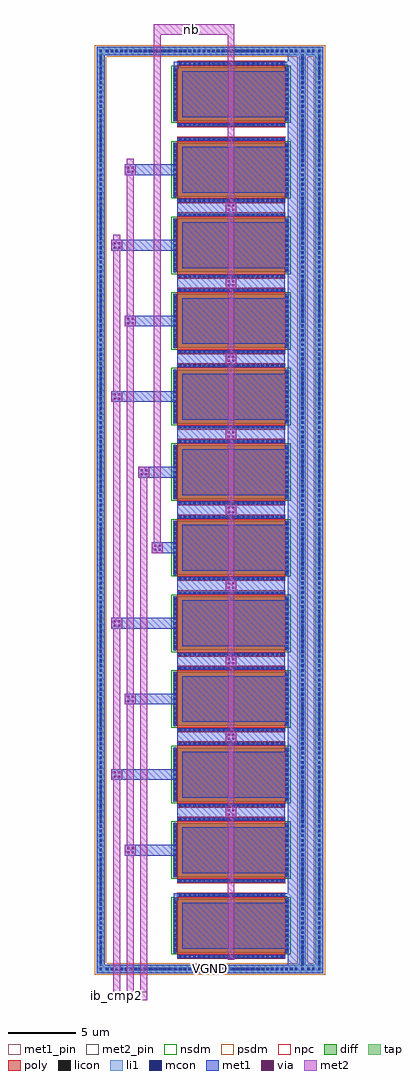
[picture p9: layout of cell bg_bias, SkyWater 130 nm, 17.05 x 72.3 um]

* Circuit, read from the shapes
.subckt bg_bias VGND ib_cmp1 ib_cmp2 ibias nb
XM1 VGND VGND VGND VGND sky130_fd_pr__nfet_01v8 w=4 l=8 m=2
XM2 VGND nb ib_cmp1 VGND sky130_fd_pr__nfet_01v8 w=4 l=8 m=4
XM3 VGND nb ib_cmp2 VGND sky130_fd_pr__nfet_01v8 w=4 l=8 m=4
XM4 VGND nb nb VGND sky130_fd_pr__nfet_01v8 w=4 l=8
XM5 VGND nb ibias VGND sky130_fd_pr__nfet_01v8 w=4 l=8
.ends

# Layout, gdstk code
import gdstk
lib = gdstk.Library(unit=1e-6, precision=1e-09)
def R(c, l, rs):  # rectangles x0, y0, x1, y1
    for r in rs: c.add(gdstk.rectangle(r[:2], r[2:], *l))
def A(c, l, x, y, w, h, nx, ny, dx, dy):  # array of equal rectangles
    R(c, l, [(x+i*dx, y+j*dy, x+i*dx+w, y+j*dy+h) for i in range(nx) for j in range(ny)])
diff = (65, 20)
tap = (65, 44)
poly = (66, 20)
licon = (66, 44)
li1 = (67, 20)
mcon = (67, 44)
met1_pin = (68, 16)
met1 = (68, 20)
via = (68, 44)
met2_pin = (69, 16)
met2 = (69, 20)
nsdm = (93, 44)
psdm = (94, 20)
npc = (95, 20)

sky130_fd_pr__nfet_01v8_ = lib.new_cell('sky130_fd_pr__nfet_01v8_SYZFM9')
R(sky130_fd_pr__nfet_01v8_, diff, [(-4.29,-2,4.29,2)])
R(sky130_fd_pr__nfet_01v8_, poly, [(-4,-2.44,4,2.44)])
A(sky130_fd_pr__nfet_01v8_, licon, -3.825, -2.36, 0.17, 0.17, 23, 2, 0.34, 4.55)
A(sky130_fd_pr__nfet_01v8_, licon, -4.23, -1.785, 0.17, 0.17, 1, 11, 0, 0.34)
A(sky130_fd_pr__nfet_01v8_, licon, 4.06, -1.785, 0.17, 0.17, 1, 11, 0, 0.34)
R(sky130_fd_pr__nfet_01v8_, li1, [(-4,-2.36,4,-2.19), (-4.23,-2.02,-4.06,2.02), (4.06,-2.02,4.23,2.02), (-4,2.19,4,2.36)])
A(sky130_fd_pr__nfet_01v8_, mcon, -3.865, -2.36, 0.17, 0.17, 22, 2, 0.36, 4.55)
A(sky130_fd_pr__nfet_01v8_, mcon, -4.23, -1.885, 0.17, 0.17, 1, 11, 0, 0.36)
A(sky130_fd_pr__nfet_01v8_, mcon, 4.06, -1.885, 0.17, 0.17, 1, 11, 0, 0.36)
R(sky130_fd_pr__nfet_01v8_, met1, [(-3.98,-2.39,3.98,-2.16), (-4.26,-2,-4.03,2), (4.03,-2,4.26,2), (-3.98,2.16,3.98,2.39)])
R(sky130_fd_pr__nfet_01v8_, nsdm, [(-4.415,-2.125,4.415,2.125)])
R(sky130_fd_pr__nfet_01v8_, npc, [(-3.925,-2.46,3.925,-2.09), (-3.925,2.09,3.925,2.46)])
sky130_fd_pr__nfet_01v8_.add(gdstk.Label('G', (0,2.275), layer=67, texttype=5))
sky130_fd_pr__nfet_01v8_.add(gdstk.Label('S', (4.145,0), layer=67, texttype=5))
sky130_fd_pr__nfet_01v8_.add(gdstk.Label('D', (-4.145,0), layer=67, texttype=5))

bg_bias_arr = lib.new_cell('bg_bias_arr')
R(bg_bias_arr, tap, [(0,0,16.8,0.6), (0,0.6,0.6,68), (15,0.6,15.5,68), (16.2,0.6,16.8,68), (0,68,16.8,68.6)])
A(bg_bias_arr, licon, 0.215, 0.215, 0.17, 0.17, 1, 201, 0, 0.34)
A(bg_bias_arr, licon, 0.72, 0.215, 0.17, 0.17, 42, 2, 0.34, 68)
A(bg_bias_arr, licon, 15.165, 0.215, 0.17, 0.17, 1, 201, 0, 0.34)
A(bg_bias_arr, licon, 16.415, 0.215, 0.17, 0.17, 1, 201, 0, 0.34)
R(bg_bias_arr, licon, [(15.62,0.215,15.79,0.385), (15.96,0.215,16.13,0.385), (15.62,68.215,15.79,68.385), (15.96,68.215,16.13,68.385)])
R(bg_bias_arr, li1, [(0,0,16.8,0.6), (0,0.6,0.6,68), (15,0.6,15.5,68), (16.2,0.6,16.8,68), (0,68,16.8,68.6)])
A(bg_bias_arr, mcon, 0.67, 0.215, 0.17, 0.17, 40, 2, 0.36, 68)
A(bg_bias_arr, mcon, 0.215, 0.735, 0.17, 0.17, 1, 187, 0, 0.36)
A(bg_bias_arr, mcon, 15.165, 0.735, 0.17, 0.17, 1, 187, 0, 0.36)
A(bg_bias_arr, mcon, 16.415, 0.735, 0.17, 0.17, 1, 187, 0, 0.36)
R(bg_bias_arr, mcon, [(0.215,0.215,0.385,0.385), (15.165,0.215,15.335,0.385), (15.61,0.215,15.78,0.385), (15.97,0.215,16.14,0.385), (16.415,0.215,16.585,0.385), (0.215,68.215,0.385,68.385), (15.165,68.215,15.335,68.385), (15.61,68.215,15.78,68.385), (15.97,68.215,16.14,68.385), (16.415,68.215,16.585,68.385)])
A(bg_bias_arr, met1, 6.36, 1.8, 10.44, 3.4, 1, 12, 0, 5.6)
A(bg_bias_arr, met1, 14.16, 10.8, 2.64, 2.2, 1, 10, 0, 5.6)
A(bg_bias_arr, met1, 5.98, 11.26, 7.96, 1.28, 1, 9, 0, 5.6)
R(bg_bias_arr, met1, [(0,0,16.8,0.6), (0,0.6,0.6,68), (14.16,0.6,16.8,1.8), (14.16,5.2,16.8,5.66), (5.7,5.4,6.06,5.89), (13.86,5.66,16.8,5.89), (14.16,5.89,16.8,7.4), (2.1,8.7,5.93,9.5), (1.1,14.3,5.93,15.1), (2.1,19.9,5.93,20.7), (1.1,25.5,5.93,26.3), (4.1,31.1,5.93,31.9), (3.1,36.7,5.93,37.5), (1.1,42.3,5.93,43.1), (2.1,47.9,5.93,48.7), (1.1,53.5,5.93,54.3), (2.1,59.1,5.93,59.9), (14.16,66.8,16.8,67.26), (5.7,67,6.06,67.49), (13.86,67.26,16.8,67.49), (14.16,67.49,16.8,68), (0,68,16.8,68.6)])
R(bg_bias_arr, via, [(2.265,8.865,2.415,9.015), (2.585,8.865,2.735,9.015), (2.265,9.185,2.415,9.335), (2.585,9.185,2.735,9.335), (9.725,11.665,9.875,11.815), (10.045,11.665,10.195,11.815), (9.725,11.985,9.875,12.135), (10.045,11.985,10.195,12.135), (1.265,14.465,1.415,14.615), (1.585,14.465,1.735,14.615), (1.265,14.785,1.415,14.935), (1.585,14.785,1.735,14.935), (9.725,17.265,9.875,17.415), (10.045,17.265,10.195,17.415), (9.725,17.585,9.875,17.735), (10.045,17.585,10.195,17.735), (2.265,20.065,2.415,20.215), (2.585,20.065,2.735,20.215), (2.265,20.385,2.415,20.535), (2.585,20.385,2.735,20.535), (9.725,22.865,9.875,23.015), (10.045,22.865,10.195,23.015), (9.725,23.185,9.875,23.335), (10.045,23.185,10.195,23.335), (1.265,25.665,1.415,25.815), (1.585,25.665,1.735,25.815), (1.265,25.985,1.415,26.135), (1.585,25.985,1.735,26.135), (9.725,28.465,9.875,28.615), (10.045,28.465,10.195,28.615), (9.725,28.785,9.875,28.935), (10.045,28.785,10.195,28.935), (4.265,31.265,4.415,31.415), (4.585,31.265,4.735,31.415), (4.265,31.585,4.415,31.735), (4.585,31.585,4.735,31.735), (9.725,34.065,9.875,34.215), (10.045,34.065,10.195,34.215), (9.725,34.385,9.875,34.535), (10.045,34.385,10.195,34.535), (3.265,36.865,3.415,37.015), (3.585,36.865,3.735,37.015), (3.265,37.185,3.415,37.335), (3.585,37.185,3.735,37.335), (9.725,39.665,9.875,39.815), (10.045,39.665,10.195,39.815), (9.725,39.985,9.875,40.135), (10.045,39.985,10.195,40.135), (1.265,42.465,1.415,42.615), (1.585,42.465,1.735,42.615), (1.265,42.785,1.415,42.935), (1.585,42.785,1.735,42.935), (9.725,45.265,9.875,45.415), (10.045,45.265,10.195,45.415), (9.725,45.585,9.875,45.735), (10.045,45.585,10.195,45.735), (2.265,48.065,2.415,48.215), (2.585,48.065,2.735,48.215), (2.265,48.385,2.415,48.535), (2.585,48.385,2.735,48.535), (9.725,50.865,9.875,51.015), (10.045,50.865,10.195,51.015), (9.725,51.185,9.875,51.335), (10.045,51.185,10.195,51.335), (1.265,53.665,1.415,53.815), (1.585,53.665,1.735,53.815), (1.265,53.985,1.415,54.135), (1.585,53.985,1.735,54.135), (9.725,56.465,9.875,56.615), (10.045,56.465,10.195,56.615), (9.725,56.785,9.875,56.935), (10.045,56.785,10.195,56.935), (2.265,59.265,2.415,59.415), (2.585,59.265,2.735,59.415), (2.265,59.585,2.415,59.735), (2.585,59.585,2.735,59.735)])
A(bg_bias_arr, met2, 9.56, 11.5, 0.8, 0.8, 1, 9, 0, 5.6)
A(bg_bias_arr, met2, 9.71, 12.3, 0.5, 4.8, 1, 8, 0, 5.6)
R(bg_bias_arr, met2, [(9.71,1,10.21,11.5), (2.1,8.7,2.9,9.5), (1.1,14.3,1.9,15.1), (2.1,19.9,2.9,20.7), (1.1,25.5,1.9,26.3), (4.1,31.1,4.9,31.9), (3.1,36.7,3.9,37.5), (1.1,42.3,1.9,43.1), (2.1,47.9,2.9,48.7), (1.1,53.5,1.9,54.3), (9.71,57.1,10.21,69.5), (2.1,59.1,2.9,59.9), (4.25,69.5,10.21,70.3)])
R(bg_bias_arr, psdm, [(-0.125,-0.125,16.925,0.725), (-0.125,0.725,0.725,67.875), (14.875,0.725,15.625,67.875), (16.075,0.725,16.925,67.875), (-0.125,67.875,16.925,68.725)])
bg_bias_arr.add(gdstk.Reference(sky130_fd_pr__nfet_01v8_, (9.96,53.9)))
bg_bias_arr.add(gdstk.Reference(sky130_fd_pr__nfet_01v8_, (9.96,42.7)))
bg_bias_arr.add(gdstk.Reference(sky130_fd_pr__nfet_01v8_, (9.96,14.7)))
bg_bias_arr.add(gdstk.Reference(sky130_fd_pr__nfet_01v8_, (9.96,59.5)))
bg_bias_arr.add(gdstk.Reference(sky130_fd_pr__nfet_01v8_, (9.96,25.9)))
bg_bias_arr.add(gdstk.Reference(sky130_fd_pr__nfet_01v8_, (9.96,48.3)))
bg_bias_arr.add(gdstk.Reference(sky130_fd_pr__nfet_01v8_, (9.96,20.3)))
bg_bias_arr.add(gdstk.Reference(sky130_fd_pr__nfet_01v8_, (9.96,9.1)))
bg_bias_arr.add(gdstk.Reference(sky130_fd_pr__nfet_01v8_, (9.96,31.5)))
bg_bias_arr.add(gdstk.Reference(sky130_fd_pr__nfet_01v8_, (9.96,37.1)))
bg_bias_arr.add(gdstk.Reference(sky130_fd_pr__nfet_01v8_, (9.96,65.1)))
bg_bias_arr.add(gdstk.Reference(sky130_fd_pr__nfet_01v8_, (9.96,3.5)))

bg_bias = lib.new_cell('bg_bias')
R(bg_bias, met1_pin, [(8,0.1,8.8,0.5)])
R(bg_bias, met1, [(7.4,0,9.4,0.6)])
A(bg_bias, met2_pin, 1.25, -2, 0.5, 0.6, 3, 1, 1, 0)
R(bg_bias, met2_pin, [(6.6,69.5,7.4,70.3)])
R(bg_bias, met2, [(1.25,-2,1.75,54.7), (2.25,-2,2.75,60.3), (3.25,-2,3.75,37.5), (4.25,31.1,4.75,70.3), (6.6,69.5,7.4,70.3)])
bg_bias.add(gdstk.Reference(bg_bias_arr, (0,0)))
bg_bias.add(gdstk.Label('nb', (7,69.9), layer=69, texttype=5))
bg_bias.add(gdstk.Label('ib_cmp2', (1.5,-1.7), layer=69, texttype=5))
bg_bias.add(gdstk.Label('ib_cmp1', (2.5,-1.7), layer=69, texttype=5))
bg_bias.add(gdstk.Label('ibias', (3.5,-1.7), layer=69, texttype=5))
bg_bias.add(gdstk.Label('VGND', (8.4,0.3), layer=68, texttype=5))

lib.write_gds('bg_bias.gds')
